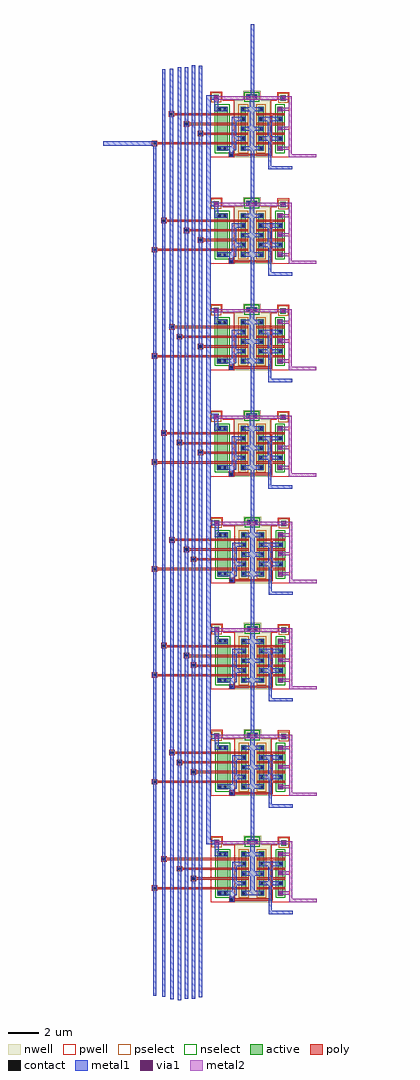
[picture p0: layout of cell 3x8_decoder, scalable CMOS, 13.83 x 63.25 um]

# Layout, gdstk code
import gdstk
lib = gdstk.Library(unit=1e-6, precision=1e-09)
def R(c, l, rs):  # rectangles x0, y0, x1, y1
    for r in rs: c.add(gdstk.rectangle(r[:2], r[2:], *l))
def A(c, l, x, y, w, h, nx, ny, dx, dy):  # array of equal rectangles
    R(c, l, [(x+i*dx, y+j*dy, x+i*dx+w, y+j*dy+h) for i in range(nx) for j in range(ny)])
contact = (25, 0)
pwell = (41, 0)
nwell = (42, 0)
active = (43, 0)
pselect = (44, 0)
nselect = (45, 0)
poly = (46, 0)
metal1 = (49, 0)
via1 = (50, 0)
metal2 = (51, 0)

decoder = lib.new_cell('decoder')
A(decoder, contact, 0.525, -2.8, 0.14, 0.14, 1, 5, 0, 0.63)
A(decoder, contact, 1.68, -2.8, 0.14, 0.14, 1, 5, 0, 0.63)
R(decoder, contact, [(-0.245,-3.22,-0.105,-3.08), (-1.015,-2.8,-0.875,-2.66), (-0.665,-2.8,-0.525,-2.66), (2.905,-2.8,3.045,-2.66), (2.905,-2.17,3.045,-2.03), (2.905,-1.505,3.045,-1.365), (2.905,-0.91,3.045,-0.77), (-1.015,-0.28,-0.875,-0.14), (-0.665,-0.28,-0.525,-0.14), (2.905,-0.28,3.045,-0.14), (3.115,0.455,3.255,0.595), (-1.225,0.49,-1.085,0.63), (0.91,0.525,1.05,0.665), (1.26,0.525,1.4,0.665)])
A(decoder, pwell, -1.54, -3.115, 1.54, 1.4, 1, 4, 0, 0.63)
A(decoder, pwell, 2.38, -3.115, 1.19, 1.4, 1, 4, 0, 0.63)
A(decoder, pwell, -1.54, -2.677, 1.05, 1.155, 1, 3, 0, 0.63)
A(decoder, pwell, -1.05, -2.677, 1.05, 1.155, 1, 3, 0, 0.63)
A(decoder, pwell, -1.365, -2.047, 1.05, 1.155, 3, 1, 0.07, 0)
R(decoder, pwell, [(-1.54,-3.325,0,-2.135), (2.38,-3.325,3.57,-2.135), (-1.295,-3.255,-0.245,-2.152), (2.45,-3.255,3.5,-2.152), (2.38,-2.695,3.57,-1.505), (-1.365,-2.677,-0.315,-1.522), (-1.26,-2.677,-0.21,-1.522), (-1.225,-2.677,-0.175,-1.522), (2.45,-2.677,3.5,-1.575), (2.45,-2.625,3.5,-1.522), (2.45,-2.047,3.5,-0.91), (2.38,-2.03,3.57,-0.84), (2.45,-1.96,3.5,-0.892), (2.38,-1.435,3.57,-0.245), (-1.365,-1.417,-0.315,-0.262), (-1.26,-1.417,-0.21,-0.262), (-1.225,-1.417,-0.175,-0.262), (2.415,-1.417,3.465,-0.315), (2.45,-1.365,3.5,-0.262), (-1.54,-0.805,0,0.385), (2.38,-0.805,3.57,0.385), (-1.295,-0.787,-0.245,0.315), (2.45,-0.787,3.5,0.315), (2.8,0.14,3.57,0.91), (-1.54,0.175,-0.77,0.945)])
A(decoder, nwell, 0, -3.325, 1.19, 1.19, 1, 5, 0, 0.63)
A(decoder, nwell, 1.155, -3.325, 1.19, 1.19, 1, 5, 0, 0.63)
A(decoder, nwell, 0.07, -3.255, 1.05, 1.103, 1, 3, 0, 0.63)
A(decoder, nwell, 1.225, -3.255, 1.05, 1.103, 1, 3, 0, 0.63)
A(decoder, nwell, 0, -3.115, 1.19, 1.4, 1, 4, 0, 0.63)
A(decoder, nwell, 1.155, -3.115, 1.19, 1.4, 1, 4, 0, 0.63)
R(decoder, nwell, [(0.07,-2.677,1.12,-1.575), (1.225,-2.677,2.275,-1.575), (0.07,-2.047,1.12,-0.945), (1.225,-2.047,2.275,-0.945), (0.035,-1.417,1.085,-0.315), (1.19,-1.417,2.24,-0.315), (0.035,-1.365,1.085,-0.262), (1.19,-1.365,2.24,-0.262), (0.07,-0.787,1.12,0.315), (1.225,-0.787,2.275,0.315), (0.595,0.21,1.715,0.98)])
A(decoder, active, 0.42, -2.905, 0.35, 0.35, 1, 5, 0, 0.63)
A(decoder, active, 1.575, -2.905, 0.35, 0.35, 1, 5, 0, 0.63)
A(decoder, active, 0.49, -2.835, 0.21, 0.263, 1, 3, 0, 0.63)
A(decoder, active, 1.645, -2.835, 0.21, 0.263, 1, 3, 0, 0.63)
A(decoder, active, -1.12, -2.695, 0.7, 0.56, 1, 4, 0, 0.63)
A(decoder, active, 0.42, -2.695, 0.35, 0.56, 1, 4, 0, 0.63)
A(decoder, active, 1.575, -2.695, 0.35, 0.56, 1, 4, 0, 0.63)
A(decoder, active, 2.8, -2.695, 0.35, 0.56, 1, 4, 0, 0.63)
A(decoder, active, -1.12, -2.257, 0.21, 0.315, 1, 3, 0, 0.63)
A(decoder, active, -0.63, -2.257, 0.21, 0.315, 1, 3, 0, 0.63)
A(decoder, active, -0.945, -1.627, 0.21, 0.315, 3, 1, 0.07, 0)
R(decoder, active, [(-1.12,-2.905,-0.42,-2.555), (2.8,-2.905,3.15,-2.555), (-0.875,-2.835,-0.665,-2.572), (2.87,-2.835,3.08,-2.572), (2.8,-2.275,3.15,-1.925), (-0.945,-2.257,-0.735,-1.942), (-0.84,-2.257,-0.63,-1.942), (-0.805,-2.257,-0.595,-1.942), (0.49,-2.257,0.7,-1.995), (1.645,-2.257,1.855,-1.995), (2.87,-2.257,3.08,-1.995), (2.87,-2.205,3.08,-1.942), (0.49,-1.627,0.7,-1.365), (1.645,-1.627,1.855,-1.365), (2.87,-1.627,3.08,-1.33), (2.8,-1.61,3.15,-1.26), (2.87,-1.54,3.08,-1.312), (2.8,-1.015,3.15,-0.665), (-0.945,-0.997,-0.735,-0.682), (-0.84,-0.997,-0.63,-0.682), (-0.805,-0.997,-0.595,-0.682), (0.455,-0.997,0.665,-0.735), (1.61,-0.997,1.82,-0.735), (2.835,-0.997,3.045,-0.735), (0.455,-0.945,0.665,-0.682), (1.61,-0.945,1.82,-0.682), (2.87,-0.945,3.08,-0.682), (-1.12,-0.385,-0.42,-0.035), (2.8,-0.385,3.15,-0.035), (-0.875,-0.367,-0.665,-0.105), (0.49,-0.367,0.7,-0.105), (1.645,-0.367,1.855,-0.105), (2.87,-0.367,3.08,-0.105), (3.01,0.35,3.36,0.7), (-1.33,0.385,-0.98,0.735), (0.805,0.42,1.505,0.77)])
A(decoder, pselect, 0.28, -3.045, 0.63, 0.63, 1, 5, 0, 0.63)
A(decoder, pselect, 1.435, -3.045, 0.63, 0.63, 1, 5, 0, 0.63)
A(decoder, pselect, 0.35, -2.975, 0.49, 0.543, 1, 3, 0, 0.63)
A(decoder, pselect, 1.505, -2.975, 0.49, 0.543, 1, 3, 0, 0.63)
A(decoder, pselect, 0.28, -2.835, 0.63, 0.84, 1, 4, 0, 0.63)
A(decoder, pselect, 1.435, -2.835, 0.63, 0.84, 1, 4, 0, 0.63)
R(decoder, pselect, [(0.35,-2.397,0.84,-1.855), (1.505,-2.397,1.995,-1.855), (0.35,-1.767,0.84,-1.225), (1.505,-1.767,1.995,-1.225), (0.315,-1.137,0.805,-0.595), (1.47,-1.137,1.96,-0.595), (0.315,-1.085,0.805,-0.542), (1.47,-1.085,1.96,-0.542), (0.35,-0.507,0.84,0.035), (1.505,-0.507,1.995,0.035), (2.87,0.21,3.5,0.84), (-1.47,0.245,-0.84,0.875)])
A(decoder, nselect, -1.26, -2.835, 0.98, 0.84, 1, 4, 0, 0.63)
A(decoder, nselect, 2.66, -2.835, 0.63, 0.84, 1, 4, 0, 0.63)
A(decoder, nselect, -1.26, -2.397, 0.49, 0.595, 1, 3, 0, 0.63)
A(decoder, nselect, -0.77, -2.397, 0.49, 0.595, 1, 3, 0, 0.63)
A(decoder, nselect, -1.085, -1.767, 0.49, 0.595, 3, 1, 0.07, 0)
R(decoder, nselect, [(-1.26,-3.045,-0.28,-2.415), (2.66,-3.045,3.29,-2.415), (-1.015,-2.975,-0.525,-2.432), (2.73,-2.975,3.22,-2.432), (2.66,-2.415,3.29,-1.785), (-1.085,-2.397,-0.595,-1.802), (-0.98,-2.397,-0.49,-1.802), (-0.945,-2.397,-0.455,-1.802), (2.73,-2.397,3.22,-1.855), (2.73,-2.345,3.22,-1.802), (2.73,-1.767,3.22,-1.19), (2.66,-1.75,3.29,-1.12), (2.73,-1.68,3.22,-1.172), (2.66,-1.155,3.29,-0.525), (-1.085,-1.137,-0.595,-0.542), (-0.98,-1.137,-0.49,-0.542), (-0.945,-1.137,-0.455,-0.542), (2.695,-1.137,3.185,-0.595), (2.73,-1.085,3.22,-0.542), (-1.26,-0.525,-0.28,0.105), (2.66,-0.525,3.29,0.105), (-1.015,-0.507,-0.525,0.035), (2.73,-0.507,3.22,0.035), (0.665,0.28,1.645,0.91)])
A(decoder, poly, -1.26, -2.485, 0.98, 0.14, 1, 4, 0, 0.63)
A(decoder, poly, -0.35, -2.485, 0.7, 0.14, 1, 4, 0, 0.63)
A(decoder, poly, 0.28, -2.485, 0.63, 0.14, 1, 4, 0, 0.63)
A(decoder, poly, 1.435, -2.485, 0.63, 0.14, 1, 4, 0, 0.63)
A(decoder, poly, 1.995, -2.485, 0.49, 0.14, 1, 4, 0, 0.63)
A(decoder, poly, 2.345, -2.485, 0.385, 0.14, 1, 4, 0, 0.63)
A(decoder, poly, 2.345, -2.485, 0.14, 0.77, 1, 3, 0, 0.63)
A(decoder, poly, 2.66, -2.485, 0.63, 0.14, 1, 4, 0, 0.63)
R(decoder, poly, [(-0.35,-3.325,0,-2.975), (-0.245,-3.22,2.485,-3.08), (2.345,-3.22,2.485,-2.345), (-1.61,-2.485,-1.19,-2.345), (-1.575,-1.855,-1.19,-1.715), (-0.35,-1.855,-0.21,-1.715), (-1.575,-1.225,-1.19,-1.085), (0.21,-1.225,0.35,-1.085), (2.59,-1.225,2.73,-1.085), (-1.61,-0.595,-1.19,-0.455), (2.59,-0.595,2.73,-0.455)])
A(decoder, metal1, 0.455, -2.87, 0.28, 0.28, 1, 5, 0, 0.63)
A(decoder, metal1, 0.455, -2.87, 0.84, 0.28, 1, 3, 0, 1.26)
A(decoder, metal1, 1.015, -2.87, 0.875, 0.28, 1, 3, 0, 1.26)
A(decoder, metal1, 1.61, -2.87, 0.28, 0.28, 1, 5, 0, 0.63)
R(decoder, metal1, [(2.205,-4.095,2.415,-3.255), (2.205,-4.095,3.78,-3.885), (2.205,-3.465,2.415,-2.275), (-0.315,-3.29,-0.035,-3.01), (-0.315,-3.29,-0.035,-2.59), (-1.085,-2.87,-0.455,-2.59), (-0.91,-2.87,-0.035,-2.59), (-0.91,-2.87,0.14,-2.59), (-0.14,-2.87,0.14,-1.96), (1.015,-2.87,1.295,-1.33), (2.835,-2.87,3.115,-2.59), (2.835,-2.87,3.115,-2.59), (2.87,-2.835,3.08,-2.625), (2.205,-2.485,2.415,-1.995), (-0.14,-2.24,0.14,-0.7), (-0.14,-2.24,0.735,-1.96), (1.61,-2.24,2.45,-1.96), (2.17,-2.24,2.45,-0.7), (2.17,-2.24,3.115,-1.96), (2.835,-2.24,3.115,-1.96), (1.015,-1.61,1.295,-0.07), (2.835,-1.575,3.115,-1.295), (2.835,-1.575,3.115,-1.295), (2.87,-1.54,3.08,-1.33), (-0.14,-0.98,0.735,-0.7), (1.61,-0.98,2.45,-0.7), (2.135,-0.98,2.45,-0.7), (2.17,-0.98,3.115,-0.7), (2.835,-0.98,3.115,-0.7), (-1.295,-0.35,-0.63,-0.07), (-1.295,-0.35,-1.015,0.7), (-1.085,-0.35,-0.455,-0.07), (1.015,-0.35,1.295,0.735), (2.835,-0.35,3.115,-0.07), (2.835,-0.35,3.115,-0.07), (2.87,-0.315,3.08,-0.105), (3.045,0.385,3.325,0.665), (3.045,0.385,3.325,0.665), (-1.295,0.42,-1.015,0.7), (-1.295,0.42,-1.015,0.7), (3.08,0.42,3.29,0.63), (-1.26,0.455,-1.05,0.665), (0.84,0.455,1.47,0.735), (1.015,0.455,1.295,0.735)])
R(decoder, via1, [(2.905,-2.8,3.045,-2.66), (2.905,-1.505,3.045,-1.365), (2.905,-0.28,3.045,-0.14), (3.115,0.455,3.255,0.595), (-1.225,0.49,-1.085,0.63)])
R(decoder, metal2, [(3.535,-3.325,4.375,-3.115), (3.535,-3.325,3.745,-2.625), (4.165,-3.325,5.32,-3.115), (2.835,-2.87,3.115,-2.59), (2.87,-2.835,3.745,-2.625), (3.535,-2.835,3.745,-1.33), (2.835,-1.575,3.115,-1.295), (2.87,-1.54,3.745,-1.33), (3.535,-1.54,3.745,-0.105), (2.835,-0.35,3.115,-0.07), (2.87,-0.315,3.745,-0.105), (3.535,-0.315,3.745,0.63), (-1.295,0.385,-1.015,0.7), (3.045,0.385,3.325,0.665), (-1.295,0.42,-1.015,0.7), (-1.26,0.42,2.66,0.63), (2.45,0.42,2.66,0.63), (2.45,0.42,3.29,0.63), (3.08,0.42,3.745,0.63), (3.535,0.42,3.745,0.63)])

c_3x8_decoder = lib.new_cell('3x8_decoder')
A(c_3x8_decoder, contact, -4.655, -39.2, 0.14, 0.14, 1, 3, 0, 13.79)
A(c_3x8_decoder, contact, -5.775, -13.51, 0.14, 0.14, 1, 3, 0, 6.895)
A(c_3x8_decoder, contact, -2.8, -12.88, 0.14, 0.14, 1, 3, 0, 6.895)
R(c_3x8_decoder, contact, [(-5.775,-47.985,-5.635,-47.845), (-3.255,-47.355,-3.115,-47.215), (-4.165,-46.725,-4.025,-46.585), (-5.18,-46.095,-5.04,-45.955), (-5.775,-41.09,-5.635,-40.95), (-3.255,-40.46,-3.115,-40.32), (-4.165,-39.83,-4.025,-39.69), (-5.775,-34.16,-5.635,-34.02), (-3.255,-33.53,-3.115,-33.39), (-3.71,-32.9,-3.57,-32.76), (-5.18,-32.27,-5.04,-32.13), (-5.775,-27.3,-5.635,-27.16), (-3.255,-26.67,-3.115,-26.53), (-3.71,-26.04,-3.57,-25.9), (-5.775,-20.37,-5.635,-20.23), (-2.8,-19.74,-2.66,-19.6), (-4.165,-19.11,-4.025,-18.97), (-5.18,-18.48,-5.04,-18.34), (-4.165,-12.25,-4.025,-12.11), (-3.71,-5.355,-3.57,-5.215), (-5.18,-4.725,-5.04,-4.585), (-3.71,1.54,-3.57,1.68), (-4.69,2.17,-4.55,2.31)])
A(c_3x8_decoder, poly, -5.775, -47.985, 3.78, 0.14, 1, 4, 0, 6.895)
A(c_3x8_decoder, poly, -3.255, -47.355, 1.295, 0.14, 1, 4, 0, 6.895)
A(c_3x8_decoder, poly, -4.76, -39.305, 0.35, 0.35, 1, 3, 0, 13.79)
A(c_3x8_decoder, poly, -5.775, -20.405, 3.745, 0.14, 1, 4, 0, 6.895)
A(c_3x8_decoder, poly, -2.8, -19.775, 0.805, 0.14, 1, 4, 0, 6.895)
A(c_3x8_decoder, poly, -5.88, -13.615, 0.35, 0.35, 1, 3, 0, 6.895)
A(c_3x8_decoder, poly, -2.905, -12.985, 0.35, 0.35, 1, 3, 0, 6.895)
R(c_3x8_decoder, poly, [(-5.88,-48.09,-5.53,-47.74), (-3.36,-47.46,-3.01,-47.11), (-4.27,-46.83,-3.92,-46.48), (-4.165,-46.725,-1.96,-46.585), (-5.285,-46.2,-4.935,-45.85), (-5.18,-46.095,-1.995,-45.955), (-5.88,-41.195,-5.53,-40.845), (-3.36,-40.565,-3.01,-40.215), (-4.27,-39.935,-3.92,-39.585), (-4.165,-39.83,-1.96,-39.69), (-4.655,-39.2,-1.995,-39.06), (-5.88,-34.265,-5.53,-33.915), (-3.36,-33.635,-3.01,-33.285), (-3.815,-33.005,-3.465,-32.655), (-3.71,-32.935,-1.96,-32.795), (-5.285,-32.375,-4.935,-32.025), (-5.18,-32.305,-1.995,-32.165), (-5.88,-27.405,-5.53,-27.055), (-3.36,-26.775,-3.01,-26.425), (-3.815,-26.145,-3.465,-25.795), (-3.71,-26.04,-1.96,-25.9), (-4.655,-25.41,-1.995,-25.27), (-5.88,-20.475,-5.53,-20.125), (-2.905,-19.845,-2.555,-19.495), (-4.27,-19.215,-3.92,-18.865), (-4.165,-19.145,-1.995,-19.005), (-5.285,-18.585,-4.935,-18.235), (-5.18,-18.515,-2.03,-18.375), (-4.27,-12.355,-3.92,-12.005), (-4.165,-12.25,-1.995,-12.11), (-4.655,-11.62,-2.03,-11.48), (-3.815,-5.46,-3.465,-5.11), (-3.71,-5.355,-1.995,-5.215), (-5.285,-4.83,-4.935,-4.48), (-5.18,-4.725,-2.03,-4.585), (-3.815,1.435,-3.465,1.785), (-3.71,1.54,-1.995,1.68), (-4.795,2.065,-4.445,2.415), (-4.69,2.17,-2.03,2.31)])
A(c_3x8_decoder, metal1, -4.725, -39.27, 0.28, 0.28, 1, 3, 0, 13.79)
A(c_3x8_decoder, metal1, -5.845, -13.58, 0.28, 0.28, 1, 3, 0, 6.895)
A(c_3x8_decoder, metal1, -2.87, -12.95, 0.28, 0.28, 1, 3, 0, 6.895)
R(c_3x8_decoder, metal1, [(-4.2,-55.16,-3.99,-54.53), (-4.69,-55.125,-4.48,-51.555), (-3.745,-55.09,-3.535,-50.61), (-3.29,-55.09,-3.08,-50.96), (-2.835,-54.985,-2.625,-51.03), (-5.215,-54.95,-5.005,-51.205), (-5.81,-54.88,-5.6,-51.24), (-4.2,-54.74,-3.99,-51.275), (-4.69,-51.765,-4.48,-39.025), (-4.2,-51.485,-3.99,-46.55), (-5.81,-51.45,-5.6,-47.81), (-5.215,-51.415,-5.005,-45.92), (-2.835,-51.24,-2.625,-38.605), (-3.29,-51.17,-3.08,-47.18), (-3.745,-50.82,-3.535,-39.305), (-5.845,-48.055,-5.565,-47.775), (-5.81,-48.02,-5.6,-40.915), (-3.325,-47.425,-3.045,-47.145), (-3.29,-47.39,-3.08,-36.155), (-4.235,-46.795,-3.955,-46.515), (-4.2,-46.76,-3.99,-35.525), (-5.25,-46.165,-4.97,-45.885), (-5.215,-46.13,-5.005,-34.895), (-2.345,-45.08,-1.54,-44.8), (-2.345,-45.08,-2.065,-37.94), (0.525,-45.045,0.735,-37.905), (-5.845,-41.16,-5.565,-40.88), (-5.81,-41.125,-5.6,-33.985), (-3.325,-40.53,-3.045,-40.25), (-3.29,-40.495,-3.08,-33.355), (-3.29,-40.495,-3.08,-36.155), (-4.235,-39.9,-3.955,-39.62), (-4.2,-39.865,-3.99,-18.935), (-4.2,-39.865,-3.99,-35.525), (-5.215,-39.795,-5.005,-39.375), (-3.745,-39.795,-3.535,-39.305), (-4.2,-39.725,-3.99,-39.165), (-3.29,-39.725,-3.08,-38.745), (-2.835,-39.725,-2.625,-38.605), (-5.215,-39.585,-5.005,-34.895), (-3.745,-39.515,-3.535,-32.725), (-4.2,-39.375,-3.99,-35.525), (-4.69,-39.235,-4.48,-25.235), (-3.29,-38.955,-3.08,-36.155), (-2.835,-38.815,-2.625,-15.085), (-2.345,-38.22,-1.54,-37.94), (-2.345,-38.22,-2.065,-31.01), (0.525,-38.115,0.735,-30.975), (-5.215,-35.105,-5.005,-32.095), (-5.845,-34.23,-5.565,-33.95), (-5.81,-34.195,-5.6,-27.125), (-3.325,-33.6,-3.045,-33.32), (-3.29,-33.565,-3.08,-26.495), (-3.78,-32.97,-3.5,-32.69), (-3.745,-32.935,-3.535,-25.865), (-5.25,-32.34,-4.97,-32.06), (-5.215,-32.305,-5.005,-18.305), (-2.345,-31.29,-1.54,-31.01), (-2.345,-31.29,-2.065,-24.115), (0.525,-31.185,0.735,-24.15), (-5.845,-27.37,-5.565,-27.09), (-5.81,-27.335,-5.6,-20.195), (-3.325,-26.74,-3.045,-26.46), (-3.29,-26.705,-3.08,3.22), (-3.78,-26.11,-3.5,-25.83), (-3.745,-26.075,-3.535,-5.18), (-4.69,-25.445,-4.48,-11.41), (-2.345,-24.395,-1.54,-24.115), (-2.345,-24.395,-2.065,-17.185), (0.455,-24.36,0.77,-24.08), (0.525,-24.36,0.735,-17.185), (-5.845,-20.44,-5.565,-20.16), (-5.81,-20.405,-5.6,-13.3), (-2.87,-19.81,-2.59,-19.53), (-2.835,-19.775,-2.625,-15.085), (-4.235,-19.18,-3.955,-18.9), (-4.2,-19.145,-3.99,-12.04), (-5.25,-18.55,-4.97,-18.27), (-5.215,-18.515,-5.005,-4.55), (-2.345,-17.465,-2.065,-10.325), (-2.345,-17.465,-1.61,-17.185), (0.525,-17.395,0.735,-10.325), (-2.835,-15.295,-2.625,-12.67), (-5.81,-13.51,-5.6,-6.44), (-2.835,-12.88,-2.625,-5.81), (-4.235,-12.32,-3.955,-12.04), (-4.2,-12.25,-3.99,3.185), (-4.76,-11.655,-4.445,-11.375), (-4.725,-11.62,-4.515,2.345), (-2.345,-10.605,-2.065,-3.43), (-2.345,-10.605,-1.61,-10.325), (0.525,-10.535,0.735,-3.465), (-5.81,-6.65,-5.6,0.455), (-2.835,-6.02,-2.625,1.085), (-3.78,-5.425,-3.5,-5.145), (-3.745,-5.39,-3.535,1.715), (-5.25,-4.795,-4.97,-4.515), (-5.215,-4.76,-5.005,1.33), (-2.345,-3.71,-2.065,3.465), (-2.345,-3.71,-1.61,-3.43), (0.525,-3.675,0.735,3.465), (-9.03,0.21,-5.565,0.49), (-2.835,0.875,-2.625,4.2), (-5.215,1.12,-5.005,4.13), (-3.78,1.47,-3.5,1.75), (-3.745,1.505,-3.535,3.955), (-4.725,1.925,-4.515,2.345), (-4.76,2.1,-4.48,2.38), (-4.725,2.135,-4.515,4.2), (-4.2,2.975,-3.99,3.185), (-4.2,2.975,-3.99,3.57), (-3.29,2.975,-3.08,3.185), (-3.29,2.975,-3.08,4.025), (-2.345,3.185,-1.575,3.465), (0.525,3.255,0.735,5.355), (-4.2,3.36,-3.99,5.285), (-3.745,3.745,-3.535,5.285), (-3.29,3.815,-3.08,5.425), (-5.215,3.92,-5.005,5.145), (-4.725,3.99,-4.515,5.18), (-2.835,3.99,-2.625,5.39), (0.525,5.145,0.735,5.355), (0.525,5.145,0.735,8.085)])
c_3x8_decoder.add(gdstk.Reference(decoder, (-0.56,2.765)))
c_3x8_decoder.add(gdstk.Reference(decoder, (-0.56,-4.13)))
c_3x8_decoder.add(gdstk.Reference(decoder, (-0.56,-11.025)))
c_3x8_decoder.add(gdstk.Reference(decoder, (-0.56,-17.92)))
c_3x8_decoder.add(gdstk.Reference(decoder, (-0.525,-24.815)))
c_3x8_decoder.add(gdstk.Reference(decoder, (-0.525,-31.71)))
c_3x8_decoder.add(gdstk.Reference(decoder, (-0.525,-38.605)))
c_3x8_decoder.add(gdstk.Reference(decoder, (-0.525,-45.5)))

lib.write_gds('3x8_decoder.gds')
